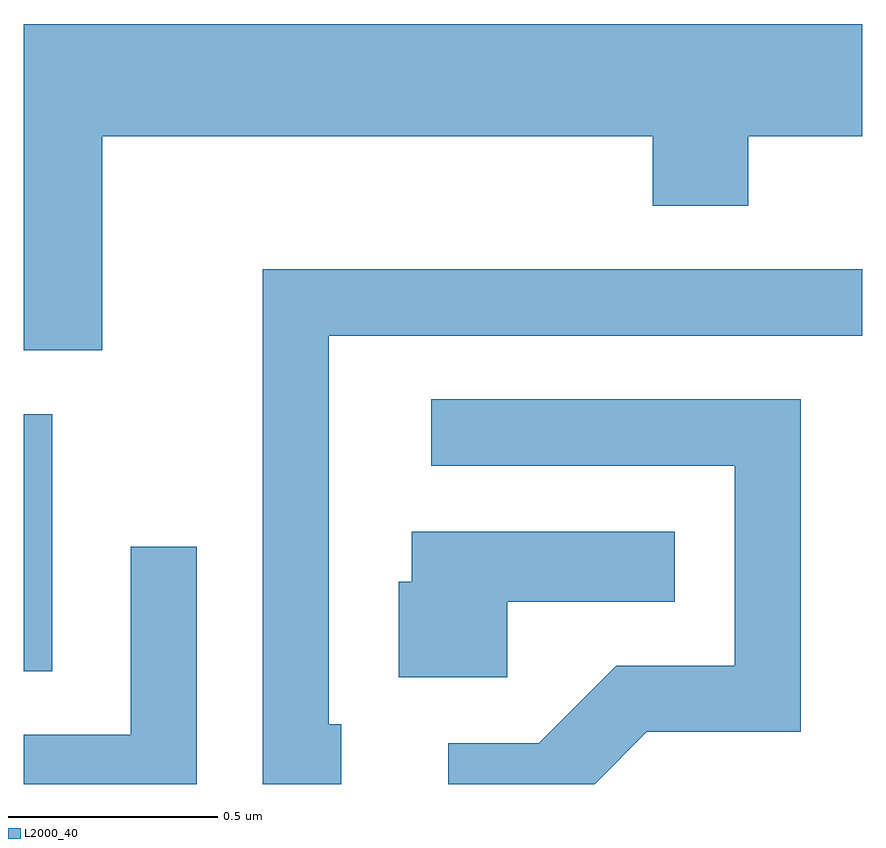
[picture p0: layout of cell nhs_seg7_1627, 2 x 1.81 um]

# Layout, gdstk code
import gdstk
lib = gdstk.Library(unit=1e-6, precision=1e-09)
def R(c, l, rs):  # rectangles x0, y0, x1, y1
    for r in rs: c.add(gdstk.rectangle(r[:2], r[2:], *l))
def P(c, l, *ps):  # polygons
    for p in ps: c.add(gdstk.Polygon(p, *l))
L2000_40 = (2000, 40)

nhs_seg7_1627 = lib.new_cell('nhs_seg7_1627')
R(nhs_seg7_1627, L2000_40, [(196.611,1788.521,196.679,1789.134)])
P(nhs_seg7_1627, L2000_40, [(196.799,1789.796),(198.111,1789.796),(198.111,1789.631),(198.339,1789.631),(198.339,1789.796),(198.611,1789.796),(198.611,1790.064),(196.611,1790.064),(196.611,1789.286),(196.799,1789.286)],
  [(197.369,1788.394),(197.339,1788.394),(197.339,1789.321),(198.611,1789.321),(198.611,1789.479),(197.181,1789.479),(197.181,1788.252),(197.369,1788.252)],
  [(198.097,1788.376),(198.464,1788.376),(198.464,1789.169),(197.583,1789.169),(197.583,1789.011),(198.306,1789.011),(198.306,1788.534),(198.024,1788.534),(197.839,1788.349),(197.623,1788.349),(197.623,1788.252),(197.973,1788.252)],
  [(197.764,1788.686),(198.163,1788.686),(198.163,1788.854),(197.536,1788.854),(197.536,1788.734),(197.506,1788.734),(197.506,1788.506),(197.764,1788.506)],
  [(197.024,1788.818),(196.866,1788.818),(196.866,1788.369),(196.611,1788.369),(196.611,1788.252),(197.024,1788.252)])

lib.write_gds('nhs_seg7_1627.gds')
